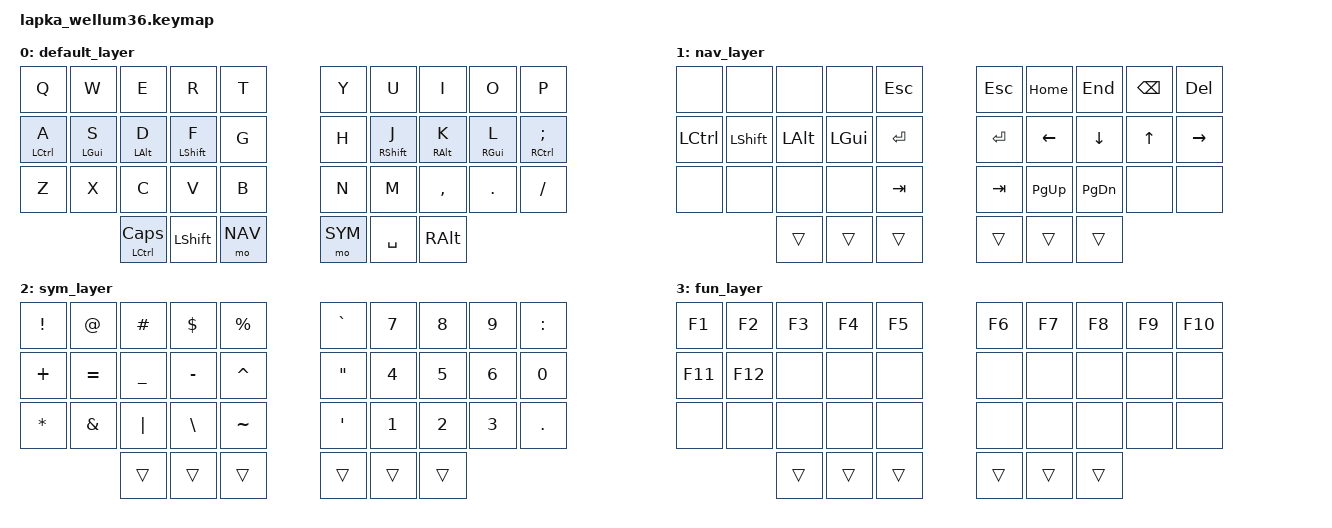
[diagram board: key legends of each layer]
#include <behaviors.dtsi>
#include <dt-bindings/zmk/keys.h>

#define DEF 0
#define NAV 1
#define SYM 2
#define FUN 3

/*
 * Key positions for combos (based on default_transform in lapka_wellum36.dtsi):
 *
 *  0  Q    1  W    2  E    3  R    4  T        18 Y    19 U    20 I    21 O    22 P
 *  5  A    6  S    7  D    8  F    9  G        23 H    24 J    25 K    26 L    27 ;
 * 10  Z   11  X   12  C   13  V   14  B        28 N    29 M    30 ,    31 .    32 /
 *             15 CAPS 16 SHFT 17 NAV        33 SYM   34 SPC   35 RALT
 */

/ {
    behaviors {
        my_mt: custom_mod_tap {
            compatible = "zmk,behavior-hold-tap";
            #binding-cells = <2>;
            flavor = "tap-preferred";
            tapping-term-ms = <200>;
            bindings = <&kp>, <&kp>;
        };

        hm: homerow_mods {
            compatible = "zmk,behavior-hold-tap";
            #binding-cells = <2>;
            flavor = "balanced";
            tapping-term-ms = <200>;
            quick-tap-ms = <150>;
            require-prior-idle-ms = <175>;
            hold-trigger-on-release;
            bindings = <&kp>, <&kp>;
        };
    };

    cond_layers {
        compatible = "zmk,conditional-layers";

        fun_layer {
            if-layers = <NAV SYM>;
            then-layer = <FUN>;
        };
    };

    keymap {
        compatible = "zmk,keymap";

        default_layer {
            bindings = <
                &kp Q       &kp W       &kp E       &kp R       &kp T           &kp Y       &kp U       &kp I       &kp O       &kp P
                &hm LCTRL A &hm LGUI S  &hm LALT D  &hm LSHIFT F &kp G          &kp H       &hm RSHIFT J &hm RALT K &hm RGUI L  &hm RCTRL SEMI
                &kp Z       &kp X       &kp C       &kp V       &kp B           &kp N       &kp M       &kp COMMA   &kp DOT     &kp SLASH
                            &my_mt LCTRL CAPS  &kp LSHIFT  &mo NAV          &mo SYM     &kp SPACE   &kp RALT
            >;
        };

        nav_layer {
            bindings = <
                &none        &none        &none        &none        &kp ESC         &kp ESC     &kp HOME    &kp END     &kp BSPC    &kp DEL
                &kp LCTRL    &kp LSHIFT   &kp LALT     &kp LGUI     &kp RET         &kp RET     &kp LEFT    &kp DOWN    &kp UP      &kp RIGHT
                &none        &none        &none        &none        &kp TAB         &kp TAB     &kp PG_UP   &kp PG_DN   &none       &none
                            &trans       &trans       &trans                       &trans      &trans      &trans
            >;
        };

        sym_layer {
            bindings = <
                &kp EXCL    &kp AT      &kp HASH    &kp DLLR    &kp PRCNT       &kp GRAVE   &kp N7      &kp N8      &kp N9      &kp COLON
                &kp PLUS    &kp EQUAL   &kp UNDER   &kp MINUS   &kp CARET       &kp DQT     &kp N4      &kp N5      &kp N6      &kp N0
                &kp STAR    &kp AMPS    &kp PIPE    &kp BSLH    &kp TILDE       &kp SQT     &kp N1      &kp N2      &kp N3      &kp DOT
                            &trans      &trans      &trans                      &trans      &trans      &trans
            >;
        };

        fun_layer {
            bindings = <
                &kp F1      &kp F2      &kp F3      &kp F4      &kp F5          &kp F6      &kp F7      &kp F8      &kp F9      &kp F10
                &kp F11     &kp F12     &none       &none       &none           &none       &none       &none       &none       &none
                &none       &none       &none       &none       &none           &none       &none       &none       &none       &none
                            &trans      &trans      &trans                      &trans      &trans      &trans
            >;
        };
    };
};
